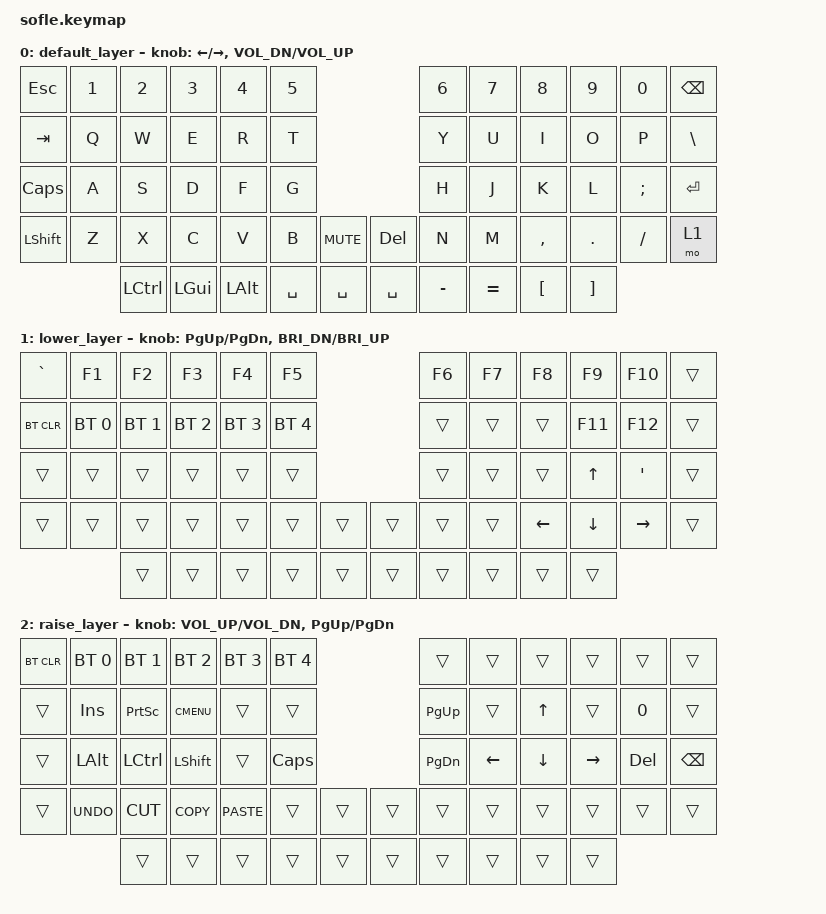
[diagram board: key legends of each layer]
/*
 * Copyright (c) 2020 The ZMK Contributors
 *
 * SPDX-License-Identifier: MIT
 */

#include <behaviors.dtsi>
#include <dt-bindings/zmk/keys.h>
#include <dt-bindings/zmk/bt.h>
&left_encoder { steps = <80>; };
&right_encoder { steps = <80>; };
/ {
    keymap {
        compatible = "zmk,keymap";

        default_layer {
// ------------------------------------------------------------------------------------------------------------
// |  `    |  1  |  2  |  3   |  4   |  5   |                   |  6   |  7    |  8    |  9   |   0   |       |
// |  ESC  |  Q  |  W  |  E   |  R   |  T   |                   |  Y   |  U    |  I    |  O   |   P   | BKSPC |
// |  TAB  |  A  |  S  |  D   |  F   |  G   |                   |  H   |  J    |  K    |  L   |   ;   |   '   |
// | SHIFT |  Z  |  X  |  C   |  V   |  B   |  MUTE  |  |       |  N   |  M    |  ,    |  .   |   /   | SHIFT |
//               | GUI | ALT  | CTRL | LOWER|  ENTER |  | SPACE | RAISE| CTRL  | ALT   | GUI  |
            bindings = <
&kp ESC &kp N1 &kp N2   &kp N3   &kp N4    &kp N5                      &kp N6 &kp N7    &kp N8    &kp N9   &kp N0   &kp BSPC
&kp TAB   &kp Q  &kp W    &kp E    &kp R     &kp T                       &kp Y  &kp U     &kp I     &kp O    &kp P    &kp BSLH
&kp CAPS   &kp A  &kp S    &kp D    &kp F     &kp G                       &kp H  &kp J     &kp K     &kp L    &kp SEMI &kp ENTER
&kp LSHFT &kp Z  &kp X    &kp C    &kp V     &kp B  &kp C_MUTE &kp DEL     &kp N  &kp M     &kp COMMA &kp DOT  &kp FSLH &mo 1
                 &kp LCTRL &kp LGUI &kp LALT &kp SPACE  &kp SPACE    &kp SPACE &kp MINUS  &kp EQUAL &kp LBKT  &kp RBKT
            >;

            sensor-bindings = <&inc_dec_kp LEFT RIGHT &inc_dec_kp C_VOL_DN C_VOL_UP>;
        };

        lower_layer {
// TODO: Some binds are waiting for shifted keycode support.
// ------------------------------------------------------------------------------------------------------------
// |       |  F1 |  F2 |  F3  |  F4  |  F5  |                   |  F6  |  F7   |  F8   |  F9  |  F10  |  F11  |
// | `     |   1 |   2 |   3  |   4  |   5  |                   |   6  |   7   |   8   |   9  |    0  |  F12  |
// |       |  !  |  @  |  #   |  $   |  %   |                   |  ^   |  &    |  *    |  (   |   )   |   |   |
// |       |  =  |  -  |  +   |  {   |  }   |        |  |       |  [   |  ]    |  ;    |  :   |   \   |       |
//               |     |      |      |      |        |  |       |      |       |       |      |
            bindings = <
&kp GRAVE    &kp F1    &kp F2    &kp F3      &kp F4    &kp F5                    &kp F6    &kp F7   &kp F8          &kp F9    &kp F10   &trans
&bt BT_CLR &bt BT_SEL 0    &bt BT_SEL 1    &bt BT_SEL 2      &bt BT_SEL 3    &bt BT_SEL 4                  &trans    &trans   &trans          &kp F11    &kp F12    &trans
&trans    &trans  &trans    &trans    &trans  &trans                 &trans &trans &trans &kp UP  &kp SQT  &trans
&trans    &trans &trans &trans &trans  &trans  &trans   &trans &trans  &trans &kp LEFT    &kp DOWN &kp RIGHT  &trans
                    &trans    &trans      &trans    &trans    &trans   &trans &trans    &trans   &trans          &trans
            >;

            sensor-bindings = <&inc_dec_kp PG_UP PG_DN &inc_dec_kp C_BRI_DN C_BRI_UP>;
        };

        raise_layer {
// ------------------------------------------------------------------------------------------------------------
// |BTCLR| BT1  | BT2  |  BT3  |  BT4  |  BT5 |                |      |      |       |      |       |       |
// |     | INS  | PSCR | GUI   |       |      |                | PGUP |      |   ^   |      |       |       |
// |     | ALT  | CTRL | SHIFT |       | CAPS |                | PGDN |   <- |   v   |  ->  |  DEL  | BKSPC |
// |     | UNDO | CUT  | COPY  | PASTE |      |      |  |      |      |      |       |      |       |       |
//              |      |       |       |      |      |  |      |      |      |       |      |
            bindings = <
&bt BT_CLR &bt BT_SEL 0 &bt BT_SEL 1 &bt BT_SEL 2 &bt BT_SEL 3 &bt BT_SEL 4             &trans    &trans    &trans   &trans    &trans  &trans
&trans     &kp INS      &kp PSCRN    &kp K_CMENU  &trans       &trans                   &kp PG_UP &trans    &kp UP   &trans    &kp N0  &trans
&trans     &kp LALT     &kp LCTRL    &kp LSHFT    &trans       &kp CLCK                 &kp PG_DN &kp LEFT  &kp DOWN &kp RIGHT &kp DEL &kp BSPC
&trans     &kp K_UNDO   &kp K_CUT    &kp K_COPY   &kp K_PASTE  &trans  &trans   &trans  &trans    &trans    &trans   &trans    &trans  &trans
                        &trans       &trans       &trans       &trans  &trans   &trans  &trans    &trans    &trans   &trans
            >;

            sensor-bindings = <&inc_dec_kp C_VOL_UP C_VOL_DN &inc_dec_kp PG_UP PG_DN>;
        };
    };
};
